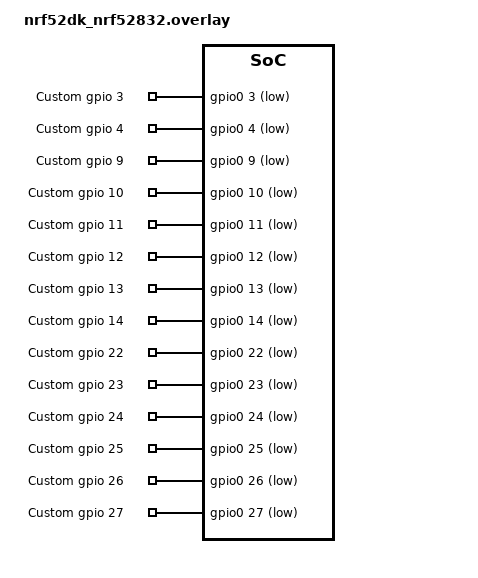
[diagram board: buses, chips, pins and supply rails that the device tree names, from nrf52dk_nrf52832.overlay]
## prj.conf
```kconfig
#
# Copyright (c) 2019 Nordic Semiconductor ASA
#
# SPDX-License-Identifier: LicenseRef-Nordic-5-Clause
#
CONFIG_NCS_SAMPLES_DEFAULTS=y

CONFIG_BT=y
CONFIG_BT_DEBUG_LOG=y
CONFIG_BT_CENTRAL=y
CONFIG_BT_SMP=y
CONFIG_BT_GATT_CLIENT=y
CONFIG_BT_GATT_DM=y
CONFIG_HEAP_MEM_POOL_SIZE=1024
CONFIG_BT_BAS_CLIENT=y

CONFIG_BT_SCAN=y
CONFIG_BT_SCAN_FILTER_ENABLE=y
CONFIG_BT_SCAN_UUID_CNT=1
CONFIG_BT_PRIVACY=y

CONFIG_BT_SETTINGS=y
CONFIG_FLASH=y
CONFIG_FLASH_PAGE_LAYOUT=y
CONFIG_FLASH_MAP=y
CONFIG_NVS=y
CONFIG_SETTINGS=y

CONFIG_DK_LIBRARY=y

#spencer jazz
CONFIG_USE_SEGGER_RTT=y
CONFIG_RTT_CONSOLE=y
CONFIG_UART_CONSOLE=n

CONFIG_BT_GATT_DM_DATA_PRINT=y
```

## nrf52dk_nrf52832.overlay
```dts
// To get started, press Ctrl+Space to bring up the completion menu and view the available nodes.

// You can also use the buttons in the sidebar to perform actions on nodes.
// Actions currently available include:

// * Enabling / disabling the node
// * Adding the bus to a bus
// * Removing the node
// * Connecting ADC channels

// For more help, browse the DeviceTree documentation at https://docs.zephyrproject.org/latest/guides/dts/index.html
// You can also visit the nRF DeviceTree extension documentation at https://nrfconnect.github.io/vscode-nrf-connect/devicetree/nrfdevicetree.html

/ {
    gpiocustom {
        compatible = "gpio-keys";
        gpio3: gpio_3 {
            gpios = <&gpio0 3 (GPIO_PULL_UP | GPIO_ACTIVE_LOW)>;
            label = "Custom gpio 3";
        };
        gpio4: gpio_4 {
            gpios = <&gpio0 4 (GPIO_PULL_UP | GPIO_ACTIVE_LOW)>;
            label = "Custom gpio 4";
        };
        gpio9: gpio_9 {
            gpios = <&gpio0 9 (GPIO_PULL_UP | GPIO_ACTIVE_LOW)>;
            label = "Custom gpio 9";
        };
        gpio10: gpio_10 {
            gpios = <&gpio0 10 (GPIO_PULL_UP | GPIO_ACTIVE_LOW)>;
            label = "Custom gpio 10";
        };
        gpio11: gpio_11 {
            gpios = <&gpio0 11 (GPIO_PULL_UP | GPIO_ACTIVE_LOW)>;
            label = "Custom gpio 11";
        };
        gpio12: gpio_12{
            gpios = <&gpio0 12 (GPIO_PULL_UP | GPIO_ACTIVE_LOW)>;
            label = "Custom gpio 12";
        };
        gpio13: gpio_13 {
            gpios = <&gpio0 13 (GPIO_PULL_UP | GPIO_ACTIVE_LOW)>;
            label = "Custom gpio 13";
        };
        gpio14: gpio_14{
            gpios = <&gpio0 14 (GPIO_PULL_UP | GPIO_ACTIVE_LOW)>;
            label = "Custom gpio 14";
        };
        gpio22: gpio_22{
            gpios = <&gpio0 22 (GPIO_PULL_UP | GPIO_ACTIVE_LOW)>;
            label = "Custom gpio 22";
        };
        gpio23: gpio_23{
            gpios = <&gpio0 23 (GPIO_PULL_UP | GPIO_ACTIVE_LOW)>;
            label = "Custom gpio 23";
        };
        gpio24: gpio_24{
            gpios = <&gpio0 24 (GPIO_PULL_UP | GPIO_ACTIVE_LOW)>;
            label = "Custom gpio 24";
        };
        gpio25: gpio_25{
            gpios = <&gpio0 25 (GPIO_PULL_UP | GPIO_ACTIVE_LOW)>;
            label = "Custom gpio 25";
        };
        gpio26: gpio_26 {
            gpios = <&gpio0 26 (GPIO_PULL_UP | GPIO_ACTIVE_LOW)>;
            label = "Custom gpio 26";
        };
        gpio27: gpio_27 {
            gpios = <&gpio0 27 (GPIO_PULL_UP | GPIO_ACTIVE_LOW)>;
            label = "Custom gpio 27";
        };

    };
    aliases {
        pin3  = &gpio3;
        pin4  = &gpio4;
        pin9  = &gpio9;
        pin10 = &gpio10;
        pin11 = &gpio11;
        pin12 = &gpio12;
        pin13 = &gpio13;
        pin14 = &gpio14;
        pin22 = &gpio22;
        pin23 = &gpio23;
        pin24 = &gpio24;
        pin25 = &gpio25;
        pin26 = &gpio26;
        pin27 = &gpio27; 
    };
};
```

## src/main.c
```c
/*
 * Copyright (c) 2019 Nordic Semiconductor ASA
 *
 * SPDX-License-Identifier: LicenseRef-Nordic-5-Clause
 */

/** @file
 *  @brief Nordic Battery Service Client sample
 */

#include <zephyr/types.h>
#include <stddef.h>
#include <inttypes.h>
#include <errno.h>
#include <zephyr/kernel.h>
#include <zephyr/sys/printk.h>

#include <zephyr/bluetooth/bluetooth.h>
#include <zephyr/bluetooth/hci.h>
#include <zephyr/bluetooth/conn.h>
#include <zephyr/bluetooth/uuid.h>
#include <zephyr/bluetooth/gatt.h>
#include <bluetooth/gatt_dm.h>
#include <bluetooth/scan.h>
//#include <bluetooth/services/kbds_client.h>
#include <dk_buttons_and_leds.h>

#include <zephyr/settings/settings.h>

#include "kbds_client.h"
#include "kbds.h"

/**
 * Button to read the battery value
 */
#define KEY_READVAL_MASK DK_BTN1_MSK

#define KBDS_READ_VALUE_INTERVAL (10 * MSEC_PER_SEC)


static struct bt_conn *default_conn;
static struct bt_kbds_client kbds;

static void notify_keystates_cb(struct bt_kbds_client *kbds,
				    uint32_t keystates);

static void scan_filter_match(struct bt_scan_device_info *device_info,
			      struct bt_scan_filter_match *filter_match,
			      bool connectable)
{
	char addr[BT_ADDR_LE_STR_LEN];

	bt_addr_le_to_str(device_info->recv_info->addr, addr, sizeof(addr));

	printk("Filters matched. Address: %s connectable: %s\n",
		addr, connectable ? "yes" : "no");
}

static void scan_connecting_error(struct bt_scan_device_info *device_info)
{
	printk("Connecting failed\n");
}

static void scan_connecting(struct bt_scan_device_info *device_info,
			    struct bt_conn *conn)
{
	default_conn = bt_conn_ref(conn);
}

static void scan_filter_no_match(struct bt_scan_device_info *device_info,
				 bool connectable)
{
	int err;
	struct bt_conn *conn;
	char addr[BT_ADDR_LE_STR_LEN];

	if (device_info->recv_info->adv_type == BT_GAP_ADV_TYPE_ADV_DIRECT_IND) {
		bt_addr_le_to_str(device_info->recv_info->addr, addr,
				  sizeof(addr));
		printk("Direct advertising received from %s\n", addr);
		bt_scan_stop();

		err = bt_conn_le_create(device_info->recv_info->addr,
					BT_CONN_LE_CREATE_CONN,
					device_info->conn_param, &conn);

		if (!err) {
			default_conn = bt_conn_ref(conn);
			bt_conn_unref(conn);
		}
	}
}

BT_SCAN_CB_INIT(scan_cb, scan_filter_match, scan_filter_no_match,
		scan_connecting_error, scan_connecting);

static void discovery_completed_cb(struct bt_gatt_dm *dm,
				   void *context)
{
	int err;

	printk("The discovery procedure succeeded\n");

	bt_gatt_dm_data_print(dm);

	err = bt_kbds_handles_assign(dm, &kbds);
	if (err) {
		printk("Could not init KBDS client object, error: %d\n", err);
	}

	if (bt_kbds_notify_supported(&kbds)) {
		err = bt_kbds_subscribe_keystates(&kbds,
						     notify_keystates_cb);
		if (err) {
			printk("Cannot subscribe to KBDS value notification "
				"(err: %d)\n", err);
			/* Continue anyway */
		}
	} else {
		err = bt_kbds_start_per_read_keystates(
			&kbds, KBDS_READ_VALUE_INTERVAL, notify_keystates_cb);
		if (err) {
			printk("Could not start periodic read of KBDS value\n");
		}
	}

	err = bt_gatt_dm_data_release(dm);
	if (err) {
		printk("Could not release the discovery data, error "
		       "code: %d\n", err);
	}
}

static void discovery_service_not_found_cb(struct bt_conn *conn,
					   void *context)
{
	printk("The service could not be found during the discovery\n");
}

static void discovery_error_found_cb(struct bt_conn *conn,
				     int err,
				     void *context)
{
	printk("The discovery procedure failed with %d\n", err);
}

static struct bt_gatt_dm_cb discovery_cb = {
	.completed = discovery_completed_cb,
	.service_not_found = discovery_service_not_found_cb,
	.error_found = discovery_error_found_cb,
};

static void gatt_discover(struct bt_conn *conn)
{
	int err;

	if (conn != default_conn) {
		return;
	}

	err = bt_gatt_dm_start(conn, BT_UUID_KBDS, &discovery_cb, NULL);
	if (err) {
		printk("Could not start the discovery procedure, error "
		       "code: %d\n", err);
	}
}

static void connected(struct bt_conn *conn, uint8_t conn_err)
{
	int err;
	char addr[BT_ADDR_LE_STR_LEN];

	bt_addr_le_to_str(bt_conn_get_dst(conn), addr, sizeof(addr));

	if (conn_err) {
		printk("Failed to connect to %s (%u)\n", addr, conn_err);
		if (conn == default_conn) {
			bt_conn_unref(default_conn);
			default_conn = NULL;

			/* This demo doesn't require active scan */
			err = bt_scan_start(BT_SCAN_TYPE_SCAN_ACTIVE);
			if (err) {
				printk("Scanning failed to start (err %d)\n",
				       err);
			}
		}

		return;
	}

	printk("Connected: %s\n", addr);

	err = bt_conn_set_security(conn, BT_SECURITY_L1);
	if (err) {
		printk("Failed to set security: %d\n", err);

		gatt_discover(conn);
	}
	gatt_discover(conn);
}

static void disconnected(struct bt_conn *conn, uint8_t reason)
{
	char addr[BT_ADDR_LE_STR_LEN];
	int err;

	bt_addr_le_to_str(bt_conn_get_dst(conn), addr, sizeof(addr));

	printk("Disconnected: %s (reason %u)\n", addr, reason);

	if (default_conn != conn) {
		return;
	}

	bt_conn_unref(default_conn);
	default_conn = NULL;

	/* This demo doesn't require active scan */
	err = bt_scan_start(BT_SCAN_TYPE_SCAN_ACTIVE);
	if (err) {
		printk("Scanning failed to start (err %d)\n", err);
	}
}

static void security_changed(struct bt_conn *conn, bt_security_t level,
			     enum bt_security_err err)
{
	char addr[BT_ADDR_LE_STR_LEN];

	bt_addr_le_to_str(bt_conn_get_dst(conn), addr, sizeof(addr));

	if (!err) {
		printk("Security changed: %s level %u\n", addr, level);
	} else {
		printk("Security failed: %s level %u err %d\n", addr, level,
			err);
	}

	gatt_discover(conn);
}

BT_CONN_CB_DEFINE(conn_callbacks) = {
	.connected = connected,
	.disconnected = disconnected,
	.security_changed = security_changed
};

static void scan_init(void)
{
	int err;

	struct bt_scan_init_param scan_init = {
		.connect_if_match = 1,
		.scan_param = NULL,
		.conn_param = BT_LE_CONN_PARAM_DEFAULT
	};

	bt_scan_init(&scan_init);
	bt_scan_cb_register(&scan_cb);

	err = bt_scan_filter_add(BT_SCAN_FILTER_TYPE_UUID, BT_UUID_KBDS);
	if (err) {
		printk("Scanning filters cannot be set (err %d)\n", err);

		return;
	}

	err = bt_scan_filter_enable(BT_SCAN_UUID_FILTER, false);
	if (err) {
		printk("Filters cannot be turned on (err %d)\n", err);
	}
}

static void notify_keystates_cb(struct bt_kbds_client *kbds,
				    uint32_t keystates)
{
	char addr[BT_ADDR_LE_STR_LEN];

	bt_addr_le_to_str(bt_conn_get_dst(bt_kbds_conn(kbds)),
			  addr, sizeof(addr));
	if (keystates == BT_KBDS_VAL_INVALID) {
		printk("[%s] Battery notification aborted\n", addr);
	} else {
		//printk("[%s] Battery notification: %"PRIu8"%%\n",
		//       addr, keystates);
		printk("[%s] Battery notification: %x \n",
		       addr, keystates);
	}
}

static void read_keystates_cb(struct bt_kbds_client *kbds,
				  uint32_t keystates,
				  int err)
{
	char addr[BT_ADDR_LE_STR_LEN];

	bt_addr_le_to_str(bt_conn_get_dst(bt_kbds_conn(kbds)),
			  addr, sizeof(addr));
	if (err) {
		printk("[%s] Battery read ERROR: %d\n", addr, err);
		return;
	}

	printk("[%s] Battery read: %x\n", addr, keystates);
}


static void button_readval(void)
{
	int err;

	printk("Reading KBDS value:\n");
	err = bt_kbds_read_keystates(&kbds, read_keystates_cb);
	if (err) {
		printk("KBDS read call error: %d\n", err);
	}
}
/*/
static void button_handler(uint32_t button_state, uint32_t has_changed)
{
	uint32_t button = button_state & has_changed;

	if (button & KEY_READVAL_MASK) {
		button_readval();
	}
}
*/

static void auth_cancel(struct bt_conn *conn)
{
	char addr[BT_ADDR_LE_STR_LEN];

	bt_addr_le_to_str(bt_conn_get_dst(conn), addr, sizeof(addr));

	printk("Pairing cancelled: %s\n", addr);
}


static void pairing_complete(struct bt_conn *conn, bool bonded)
{
	char addr[BT_ADDR_LE_STR_LEN];

	bt_addr_le_to_str(bt_conn_get_dst(conn), addr, sizeof(addr));

	printk("Pairing completed: %s, bonded: %d\n", addr, bonded);
}


static void pairing_failed(struct bt_conn *conn, enum bt_security_err reason)
{
	char addr[BT_ADDR_LE_STR_LEN];

	bt_addr_le_to_str(bt_conn_get_dst(conn), addr, sizeof(addr));

	printk("Pairing failed conn: %s, reason %d\n", addr, reason);
}


static struct bt_conn_auth_cb conn_auth_callbacks = {
	.cancel = auth_cancel,
};

static struct bt_conn_auth_info_cb conn_auth_info_callbacks = {
	.pairing_complete = pairing_complete,
	.pairing_failed = pairing_failed
};


void main(void)
{
	int err;

	printk("Starting Bluetooth Central KBDS example\n");

	bt_kbds_client_init(&kbds);

	err = bt_enable(NULL);
	if (err) {
		printk("Bluetooth init failed (err %d)\n", err);
		return;
	}

	printk("Bluetooth initialized\n");

	if (IS_ENABLED(CONFIG_SETTINGS)) {
		settings_load();
	}

	scan_init();

	err = bt_conn_auth_cb_register(&conn_auth_callbacks);
	if (err) {
		printk("Failed to register authorization callbacks.\n");
		return;
	}

	err = bt_conn_auth_info_cb_register(&conn_auth_info_callbacks);
	if (err) {
		printk("Failed to register authorization info callbacks.\n");
		return;
	}
	/*
	err = dk_buttons_init(button_handler);
	if (err) {
		printk("Failed to initialize buttons (err %d)\n", err);
		return;
	}
	*/

	err = bt_scan_start(BT_SCAN_TYPE_SCAN_ACTIVE);
	if (err) {
		printk("Scanning failed to start (err %d)\n", err);
		return;
	}

	printk("Scanning successfully started\n");
}
```
